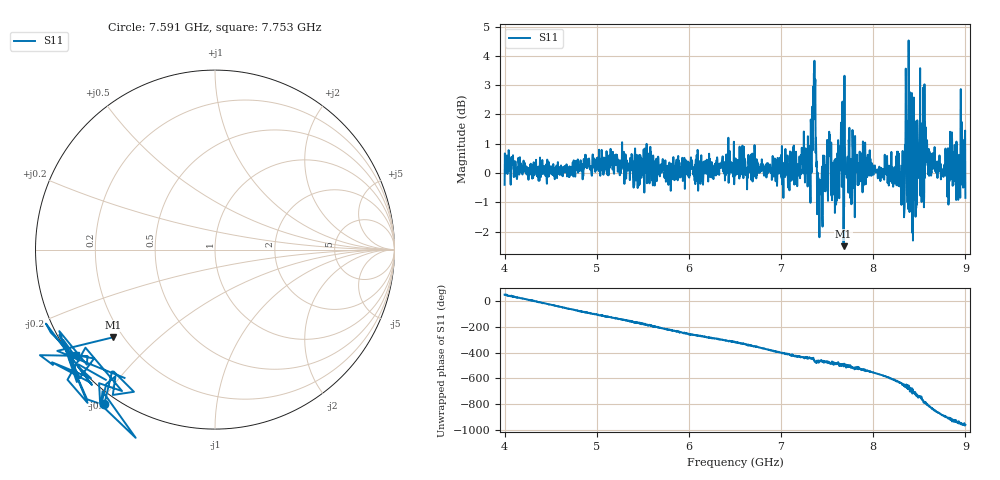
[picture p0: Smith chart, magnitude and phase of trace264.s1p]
! Created with skrf 1.8.0 (http://scikit-rf.org).
# Hz S RI R 50.0
!freq ReS11 ImS11
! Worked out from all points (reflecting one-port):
!   1601 points, 4 GHz to 9 GHz, reference 50 ohm
!   lowest |S11| = -2.5 dB at 7.678 GHz (marker M1), VSWR 7.00, Z = 8.11 - j18.1 ohm
!   phase of S11 starts at 53 deg and turns -1017 deg over the sweep
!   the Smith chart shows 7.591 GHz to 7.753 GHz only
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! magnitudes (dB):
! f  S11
! 4 GHz  -0.4
! 4.069 GHz  0.5
! 4.625 GHz  -0.1
! 5.25 GHz  -0.1
! 5.875 GHz  0.1
! 6.5 GHz  0.1
! 7.125 GHz  0.4
! 7.294 GHz  0.3
! 7.319 GHz  -1.0
! 7.347 GHz  2.5
! 7.372 GHz  3.2
! 7.4 GHz  -0.2
! 7.428 GHz  -0.3
! 7.512 GHz  0.9
! 7.584 GHz  -1.4
! 7.65 GHz  1.7
! 7.678 GHz  -2.5
! 7.75 GHz  -0.8
! 8.262 GHz  -0.2
! 8.316 GHz  -0.1
! 8.375 GHz  1.8
! 8.412 GHz  -0.6
! 8.447 GHz  1.1
! 8.459 GHz  -1.5
! 8.566 GHz  0.5
! 8.806 GHz  0.1
! 8.972 GHz  0.3
! 9 GHz  -0.9
